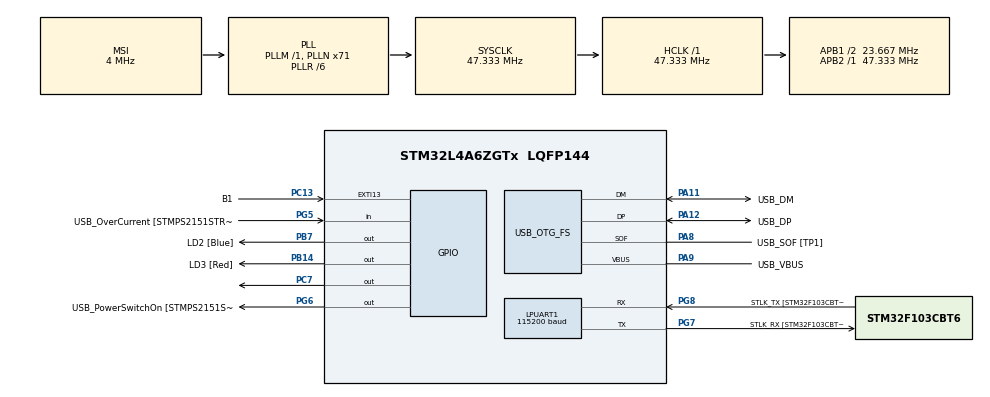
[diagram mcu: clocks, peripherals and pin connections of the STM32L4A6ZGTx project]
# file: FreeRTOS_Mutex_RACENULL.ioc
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FREERTOS.CountingSemaphores01=myCountingSem01,1,Dynamic,NULL,1
FREERTOS.Mutexes01=CONTEXTKEY,Dynamic,NULL,Available
FREERTOS.RecursiveMutexes01=RecursiveCONTEXTKEY,Dynamic,NULL,Available
FREERTOS.Tasks01=defaultTask,8,128,StartDefaultTask,Default,NULL,Dynamic,NULL,NULL;myTask02,24,128,StartTask02,Default,NULL,Dynamic,NULL,NULL;myTask03,24,128,StartTask03,Default,NULL,Dynamic,NULL,NULL
LPUART1.AutoBaudRateEnableParam=UART_ADVFEATURE_AUTOBAUDRATE_DISABLE
LPUART1.BaudRate=115200
LPUART1.DMADisableonRxErrorParam=UART_ADVFEATURE_DMA_ENABLEONRXERROR
LPUART1.DataInvertParam=UART_ADVFEATURE_DATAINV_DISABLE
LPUART1.MSBFirstParam=UART_ADVFEATURE_MSBFIRST_DISABLE
LPUART1.Mode=UART_MODE_TX_RX
LPUART1.OneBitSampling=UART_ONE_BIT_SAMPLE_DISABLE
LPUART1.OverrunDisableParam=UART_ADVFEATURE_OVERRUN_ENABLE
LPUART1.Parity=UART_PARITY_NONE
LPUART1.RxPinLevelInvertParam=UART_ADVFEATURE_RXINV_DISABLE
LPUART1.StopBits=UART_STOPBITS_2
LPUART1.SwapParam=UART_ADVFEATURE_SWAP_DISABLE
LPUART1.TxPinLevelInvertParam=UART_ADVFEATURE_TXINV_DISABLE
LPUART1.WordLength=UART_WORDLENGTH_8B
Mcu.Family=STM32L4
Mcu.Name=STM32L4A6ZGTx
Mcu.Package=LQFP144
Mcu.UserConstants=DEBOUNCE_COUNT,10000
NVIC.EXTI15_10_IRQn=true\:5\:0\:false\:false\:true\:true\:true\:true\:true
NVIC.LPUART1_IRQn=true\:5\:0\:false\:false\:true\:true\:true\:true\:true
NVIC.PriorityGroup=NVIC_PRIORITYGROUP_4
NVIC.TIM6_DAC_IRQn=true\:15\:0\:false\:false\:true\:false\:false\:true\:true
NVIC.TIM7_IRQn=true\:5\:0\:false\:false\:true\:true\:true\:true\:true
NVIC.TimeBase=TIM6_DAC_IRQn
NVIC.TimeBaseIP=TIM6
PA10.GPIO_Label=USB_ID
PA10.Signal=USB_OTG_FS_ID
PA11.GPIO_Label=USB_DM
PA11.Mode=Device_Only
PA11.Signal=USB_OTG_FS_DM
PA12.GPIO_Label=USB_DP
PA12.Mode=Device_Only
PA12.Signal=USB_OTG_FS_DP
PA13\ (JTMS/SWDIO).GPIO_Label=TMS
PA13\ (JTMS/SWDIO).Mode=Trace_Asynchronous_SW
PA13\ (JTMS/SWDIO).Signal=SYS_JTMS-SWDIO
PA14\ (JTCK/SWCLK).GPIO_Label=TCK
PA14\ (JTCK/SWCLK).Mode=Trace_Asynchronous_SW
PA14\ (JTCK/SWCLK).Signal=SYS_JTCK-SWCLK
PA8.GPIO_Label=USB_SOF [TP1]
PA8.Mode=Activate_SOF_FS
PA8.Signal=USB_OTG_FS_SOF
PA9.GPIO_Label=USB_VBUS
PA9.Mode=Activate_VBUS
PA9.Signal=USB_OTG_FS_VBUS
PB14.GPIO_Label=LD3 [Red]
PB14.Signal=GPIO_Output
PB3\ (JTDO/TRACESWO).GPIO_Label=SWO
PB3\ (JTDO/TRACESWO).Mode=Trace_Asynchronous_SW
PB3\ (JTDO/TRACESWO).Signal=SYS_JTDO-SWO
PB7.GPIO_Label=LD2 [Blue]
PB7.Signal=GPIO_Output
PC13.GPIO_Label=B1
PC13.GPIO_ModeDefaultEXTI=GPIO_MODE_IT_FALLING
PC13.Signal=GPXTI13
PC14-OSC32_IN\ (PC14).Mode=LSE-External-Oscillator
PC14-OSC32_IN\ (PC14).Signal=RCC_OSC32_IN
PC15-OSC32_OUT\ (PC15).Mode=LSE-External-Oscillator
PC15-OSC32_OUT\ (PC15).Signal=RCC_OSC32_OUT
PC7.Signal=GPIO_Output
PG5.GPIO_Label=USB_OverCurrent [STMPS2151STR_FAULT]
PG5.Signal=GPIO_Input
PG6.GPIO_Label=USB_PowerSwitchOn [STMPS2151STR_EN]
PG6.Signal=GPIO_Output
PG7.GPIO_Label=STLK_RX [STM32F103CBT6_PA3]
PG7.Mode=Asynchronous
PG7.Signal=LPUART1_TX
PG8.GPIO_Label=STLK_TX [STM32F103CBT6_PA2]
PG8.Mode=Asynchronous
PG8.Signal=LPUART1_RX
PH1-OSC_OUT\ (PH1).Signal=RCC_OSC_OUT
ProjectManager.HeapSize=0x200
ProjectManager.StackSize=0x400
ProjectManager.TargetToolchain=STM32CubeIDE
RCC.ADCFreq_Value=48000000
RCC.AHBFreq_Value=47333333.333333336
RCC.APB1CLKDivider=RCC_HCLK_DIV2
RCC.APB1Freq_Value=23666666.666666668
RCC.APB1TimFreq_Value=47333333.333333336
RCC.APB2Freq_Value=47333333.333333336
RCC.APB2TimFreq_Value=47333333.333333336
RCC.CortexFreq_Value=47333333.333333336
RCC.FLatency=FLASH_LATENCY_2
RCC.HCLKFreq_Value=47333333.333333336
RCC.HSE_VALUE=8000000
RCC.HSI48_VALUE=48000000
RCC.HSI_VALUE=16000000
RCC.MSI_VALUE=4000000
RCC.PLLN=71
RCC.PLLR=RCC_PLLR_DIV6
RCC.PLLSAI1N=24
RCC.SYSCLKFreq_VALUE=47333333.333333336
RCC.SYSCLKSource=RCC_SYSCLKSOURCE_PLLCLK
RCC.USBFreq_Value=48000000
RCC.VCOOutputFreq_Value=284000000
TIM7.Period=DEBOUNCE_COUNT - 1
TIM7.Prescaler=47.333333 - 1
USB_OTG_FS.Sof_enable=ENABLE
USB_OTG_FS.VirtualMode=Device_Only
USB_OTG_FS.battery_charging_enable=ENABLE
USB_OTG_FS.low_power_enable=DISABLE
USB_OTG_FS.lpm_enable=DISABLE
USB_OTG_FS.use_dedicated_ep1=DISABLE
USB_OTG_FS.vbus_sensing_enable=ENABLE
VP_FREERTOS_VS_CMSIS_V2.Mode=CMSIS_V2
VP_SYS_VS_tim6.Mode=TIM6
VP_TIM7_VS_ClockSourceINT.Mode=Enable_Timer
board=NUCLEO-L4A6ZG

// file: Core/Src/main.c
/* USER CODE BEGIN Header */
/**
  ******************************************************************************
  * @file           : main.c
  * @brief          : Main program body
  ******************************************************************************
  * @attention
  *
  * Copyright (c) 2025 STMicroelectronics.
  * All rights reserved.
  *
  * This software is licensed under terms that can be found in the LICENSE file
  * in the root directory of this software component.
  * If no LICENSE file comes with this software, it is provided AS-IS.
  *
  ******************************************************************************
  */
/* USER CODE END Header */
#include "main.h"
#include "cmsis_os.h"

/* USER CODE BEGIN PD */
#define BTN_Pin GPIO_PIN_13
#define BTN_Port GPIOC
#define TASK2 myTask02Handle
#define TASK3 myTask03Handle
#define COUNT_UP count()
#define KEYSEM1Handle myCountingSem01Handle
#define KEYTOKEN CONTEXTKEYHandle
/* USER CODE END PD */

/* USER CODE BEGIN PM */
int i = 0;
uint8_t buttonstate = 0;
uint8_t newbuttonstate = 0;
int currentTask = 0;
int activeTask = 2;
/* USER CODE END PM */

UART_HandleTypeDef hlpuart1;

TIM_HandleTypeDef htim7;

PCD_HandleTypeDef hpcd_USB_OTG_FS;

/* Definitions for defaultTask */
osThreadId_t defaultTaskHandle;
const osThreadAttr_t defaultTask_attributes = {
  .name = "defaultTask",
  .stack_size = 128 * 4,
  .priority = (osPriority_t) osPriorityNormal,
};
/* Definitions for myTask02 */
osThreadId_t myTask02Handle;
const osThreadAttr_t myTask02_attributes = {
  .name = "myTask02",
  .stack_size = 128 * 4,
  .priority = (osPriority_t) osPriorityNormal,
};
/* Definitions for myTask03 */
osThreadId_t myTask03Handle;
const osThreadAttr_t myTask03_attributes = {
  .name = "myTask03",
  .stack_size = 128 * 4,
  .priority = (osPriority_t) osPriorityNormal,
};
/* Definitions for CONTEXTKEY */
osMutexId_t CONTEXTKEYHandle;
const osMutexAttr_t CONTEXTKEY_attributes = {
  .name = "CONTEXTKEY"
};
/* Definitions for RecursiveCONTEXTKEY */
osMutexId_t RecursiveCONTEXTKEYHandle;
const osMutexAttr_t RecursiveCONTEXTKEY_attributes = {
  .name = "RecursiveCONTEXTKEY",
  .attr_bits = osMutexRecursive,
};
/* Definitions for myCountingSem01 */
osSemaphoreId_t myCountingSem01Handle;
const osSemaphoreAttr_t myCountingSem01_attributes = {
  .name = "myCountingSem01"
};

void SystemClock_Config(void);
static void MX_GPIO_Init(void);
static void MX_LPUART1_UART_Init(void);
static void MX_USB_OTG_FS_PCD_Init(void);
static void MX_TIM7_Init(void);
void StartDefaultTask(void *argument);
void StartTask02(void *argument);
void StartTask03(void *argument);

/* USER CODE BEGIN 0 */
/**
  * @brief  Period elapsed callback in non blocking mode
  * @note   This function is called  when TIM6 interrupt took place, inside
  * HAL_TIM_IRQHandler(). It makes a direct call to HAL_IncTick() to increment
  * a global variable "uwTick" used as application time base and for TIM7, it checks
  * the button state.
  * @param  htim : TIM handle
  * @retval None
  */
void HAL_TIM_PeriodElapsedCallback(TIM_HandleTypeDef *htim)
{
	if (htim->Instance == TIM6)
	{
		HAL_IncTick();
	}
	if (htim->Instance == TIM7)
	{
		HAL_TIM_Base_Stop_IT(&htim7);
		GPIO_PinState state = HAL_GPIO_ReadPin(BTN_Port, BTN_Pin); //check button state
		buttonstate = (state == GPIO_PIN_RESET); // 1 = pressed, 0 = released
	}
}
/**
  * @brief HAL_GPIO_EXTI_Callback Function
  * @param None
  * @retval None
  */
void HAL_GPIO_EXTI_Callback(uint16_t GPIO_Pin)
{
	if (GPIO_Pin == BTN_Pin)
	{
		__HAL_TIM_SET_COUNTER(&htim7, 0); //starts TIM7
		HAL_TIM_Base_Start_IT(&htim7);
	}
}

/**
  * @brief count Function (counts up 1 each time it is called)
  * @param None
  * @retval None
  */
void count()
{
	char buf[32];
	i += 1;
	currentTask = 1;
	snprintf(buf, sizeof(buf), "%d\n", i);
	HAL_UART_Transmit(&hlpuart1, (uint8_t *)buf, strlen(buf), HAL_MAX_DELAY);
	HAL_Delay(250);
}
/* USER CODE END 0 */

int main(void)
{

  /* MCU Configuration--------------------------------------------------------*/

  /* Reset of all peripherals, Initializes the Flash interface and the Systick. */
  HAL_Init();

  /* Configure the system clock */
  SystemClock_Config();

  /* Initialize all configured peripherals */
  MX_GPIO_Init();
  MX_LPUART1_UART_Init();
  MX_USB_OTG_FS_PCD_Init();
  MX_TIM7_Init();
  /* USER CODE BEGIN 2 */
  activeTask = 2;
  /* USER CODE END 2 */

  /* Init scheduler */
  osKernelInitialize();
  /* Create the mutex(es) */
  /* creation of CONTEXTKEY */
  CONTEXTKEYHandle = osMutexNew(&CONTEXTKEY_attributes);

  /* Create the recursive mutex(es) */
  /* creation of RecursiveCONTEXTKEY */
  RecursiveCONTEXTKEYHandle = osMutexNew(&RecursiveCONTEXTKEY_attributes);

  /* Create the semaphores(s) */
  /* creation of myCountingSem01 */
  myCountingSem01Handle = osSemaphoreNew(1, 0, &myCountingSem01_attributes);

  /* Create the thread(s) */
  /* creation of defaultTask */
  defaultTaskHandle = osThreadNew(StartDefaultTask, NULL, &defaultTask_attributes);

  /* creation of myTask02 */
  myTask02Handle = osThreadNew(StartTask02, NULL, &myTask02_attributes);

  /* creation of myTask03 */
  myTask03Handle = osThreadNew(StartTask03, NULL, &myTask03_attributes);

  /* Start scheduler */
  osKernelStart();

  /* We should never get here as control is now taken by the scheduler */

  /* Infinite loop */
  while (1)
  {

  }
}

void SystemClock_Config(void)
{
  RCC_OscInitTypeDef RCC_OscInitStruct = {0};
  RCC_ClkInitTypeDef RCC_ClkInitStruct = {0};

  /** Configure the main internal regulator output voltage
  */
  if (HAL_PWREx_ControlVoltageScaling(PWR_REGULATOR_VOLTAGE_SCALE1) != HAL_OK)
  {
    Error_Handler();
  }

  /** Configure LSE Drive Capability
  */
  HAL_PWR_EnableBkUpAccess();
  __HAL_RCC_LSEDRIVE_CONFIG(RCC_LSEDRIVE_LOW);

  /** Initializes the RCC Oscillators according to the specified parameters
  * in the RCC_OscInitTypeDef structure.
  */
  RCC_OscInitStruct.OscillatorType = RCC_OSCILLATORTYPE_LSE|RCC_OSCILLATORTYPE_MSI;
  RCC_OscInitStruct.LSEState = RCC_LSE_ON;
  RCC_OscInitStruct.MSIState = RCC_MSI_ON;
  RCC_OscInitStruct.MSICalibrationValue = 0;
  RCC_OscInitStruct.MSIClockRange = RCC_MSIRANGE_6;
  RCC_OscInitStruct.PLL.PLLState = RCC_PLL_ON;
  RCC_OscInitStruct.PLL.PLLSource = RCC_PLLSOURCE_MSI;
  RCC_OscInitStruct.PLL.PLLM = 1;
  RCC_OscInitStruct.PLL.PLLN = 71;
  RCC_OscInitStruct.PLL.PLLP = RCC_PLLP_DIV2;
  RCC_OscInitStruct.PLL.PLLQ = RCC_PLLQ_DIV2;
  RCC_OscInitStruct.PLL.PLLR = RCC_PLLR_DIV6;
  if (HAL_RCC_OscConfig(&RCC_OscInitStruct) != HAL_OK)
  {
    Error_Handler();
  }

  /** Initializes the CPU, AHB and APB buses clocks
  */
  RCC_ClkInitStruct.ClockType = RCC_CLOCKTYPE_HCLK|RCC_CLOCKTYPE_SYSCLK
                              |RCC_CLOCKTYPE_PCLK1|RCC_CLOCKTYPE_PCLK2;
  RCC_ClkInitStruct.SYSCLKSource = RCC_SYSCLKSOURCE_PLLCLK;
  RCC_ClkInitStruct.AHBCLKDivider = RCC_SYSCLK_DIV1;
  RCC_ClkInitStruct.APB1CLKDivider = RCC_HCLK_DIV2;
  RCC_ClkInitStruct.APB2CLKDivider = RCC_HCLK_DIV1;

  if (HAL_RCC_ClockConfig(&RCC_ClkInitStruct, FLASH_LATENCY_2) != HAL_OK)
  {
    Error_Handler();
  }

  /** Enable MSI Auto calibration
  */
  HAL_RCCEx_EnableMSIPLLMode();
}

static void MX_LPUART1_UART_Init(void)
{

  hlpuart1.Instance = LPUART1;
  hlpuart1.Init.BaudRate = 115200;
  hlpuart1.Init.WordLength = UART_WORDLENGTH_8B;
  hlpuart1.Init.StopBits = UART_STOPBITS_2;
  hlpuart1.Init.Parity = UART_PARITY_NONE;
  hlpuart1.Init.Mode = UART_MODE_TX_RX;
  hlpuart1.Init.HwFlowCtl = UART_HWCONTROL_NONE;
  hlpuart1.Init.OneBitSampling = UART_ONE_BIT_SAMPLE_DISABLE;
  hlpuart1.AdvancedInit.AdvFeatureInit = UART_ADVFEATURE_NO_INIT;
  if (HAL_UART_Init(&hlpuart1) != HAL_OK)
  {
    Error_Handler();
  }

}

static void MX_TIM7_Init(void)
{

  TIM_MasterConfigTypeDef sMasterConfig = {0};

  htim7.Instance = TIM7;
  htim7.Init.Prescaler = 47.333333 - 1;
  htim7.Init.CounterMode = TIM_COUNTERMODE_UP;
  htim7.Init.Period = DEBOUNCE_COUNT - 1;
  htim7.Init.AutoReloadPreload = TIM_AUTORELOAD_PRELOAD_DISABLE;
  if (HAL_TIM_Base_Init(&htim7) != HAL_OK)
  {
    Error_Handler();
  }
  sMasterConfig.MasterOutputTrigger = TIM_TRGO_RESET;
  sMasterConfig.MasterSlaveMode = TIM_MASTERSLAVEMODE_DISABLE;
  if (HAL_TIMEx_MasterConfigSynchronization(&htim7, &sMasterConfig) != HAL_OK)
  {
    Error_Handler();
  }

}

static void MX_USB_OTG_FS_PCD_Init(void)
{

  hpcd_USB_OTG_FS.Instance = USB_OTG_FS;
  hpcd_USB_OTG_FS.Init.dev_endpoints = 6;
  hpcd_USB_OTG_FS.Init.speed = PCD_SPEED_FULL;
  hpcd_USB_OTG_FS.Init.phy_itface = PCD_PHY_EMBEDDED;
  hpcd_USB_OTG_FS.Init.Sof_enable = ENABLE;
  hpcd_USB_OTG_FS.Init.low_power_enable = DISABLE;
  hpcd_USB_OTG_FS.Init.lpm_enable = DISABLE;
  hpcd_USB_OTG_FS.Init.battery_charging_enable = ENABLE;
  hpcd_USB_OTG_FS.Init.use_dedicated_ep1 = DISABLE;
  hpcd_USB_OTG_FS.Init.vbus_sensing_enable = ENABLE;
  if (HAL_PCD_Init(&hpcd_USB_OTG_FS) != HAL_OK)
  {
    Error_Handler();
  }

}

static void MX_GPIO_Init(void)
{
  GPIO_InitTypeDef GPIO_InitStruct = {0};

  /* GPIO Ports Clock Enable */
  __HAL_RCC_GPIOC_CLK_ENABLE();
  __HAL_RCC_GPIOH_CLK_ENABLE();
  __HAL_RCC_GPIOB_CLK_ENABLE();
  __HAL_RCC_GPIOG_CLK_ENABLE();
  HAL_PWREx_EnableVddIO2();
  __HAL_RCC_GPIOA_CLK_ENABLE();

  /*Configure GPIO pin Output Level */
  HAL_GPIO_WritePin(GPIOB, LD3_Pin|LD2_Pin, GPIO_PIN_RESET);

  /*Configure GPIO pin Output Level */
  HAL_GPIO_WritePin(USB_PowerSwitchOn_GPIO_Port, USB_PowerSwitchOn_Pin, GPIO_PIN_RESET);

  /*Configure GPIO pin Output Level */
  HAL_GPIO_WritePin(GPIOC, GPIO_PIN_7, GPIO_PIN_RESET);

  /*Configure GPIO pin : B1_Pin */
  GPIO_InitStruct.Pin = B1_Pin;
  GPIO_InitStruct.Mode = GPIO_MODE_IT_FALLING;
  GPIO_InitStruct.Pull = GPIO_NOPULL;
  HAL_GPIO_Init(B1_GPIO_Port, &GPIO_InitStruct);

  /*Configure GPIO pins : LD3_Pin LD2_Pin */
  GPIO_InitStruct.Pin = LD3_Pin|LD2_Pin;
  GPIO_InitStruct.Mode = GPIO_MODE_OUTPUT_PP;
  GPIO_InitStruct.Pull = GPIO_NOPULL;
  GPIO_InitStruct.Speed = GPIO_SPEED_FREQ_LOW;
  HAL_GPIO_Init(GPIOB, &GPIO_InitStruct);

  /*Configure GPIO pin : USB_OverCurrent_Pin */
  GPIO_InitStruct.Pin = USB_OverCurrent_Pin;
  GPIO_InitStruct.Mode = GPIO_MODE_INPUT;
  GPIO_InitStruct.Pull = GPIO_NOPULL;
  HAL_GPIO_Init(USB_OverCurrent_GPIO_Port, &GPIO_InitStruct);

  /*Configure GPIO pin : USB_PowerSwitchOn_Pin */
  GPIO_InitStruct.Pin = USB_PowerSwitchOn_Pin;
  GPIO_InitStruct.Mode = GPIO_MODE_OUTPUT_PP;
  GPIO_InitStruct.Pull = GPIO_NOPULL;
  GPIO_InitStruct.Speed = GPIO_SPEED_FREQ_LOW;
  HAL_GPIO_Init(USB_PowerSwitchOn_GPIO_Port, &GPIO_InitStruct);

  /*Configure GPIO pin : PC7 */
  GPIO_InitStruct.Pin = GPIO_PIN_7;
  GPIO_InitStruct.Mode = GPIO_MODE_OUTPUT_PP;
  GPIO_InitStruct.Pull = GPIO_NOPULL;
  GPIO_InitStruct.Speed = GPIO_SPEED_FREQ_LOW;
  HAL_GPIO_Init(GPIOC, &GPIO_InitStruct);

  /* EXTI interrupt init*/
  HAL_NVIC_SetPriority(EXTI15_10_IRQn, 5, 0);
  HAL_NVIC_EnableIRQ(EXTI15_10_IRQn);

}

/* USER CODE BEGIN Header_StartDefaultTask */
/**
  * @brief  Function implementing the defaultTask thread
  * 		and push button application at PC13 which releases Mutex.
  * @param  argument: Not used
  * @retval None
  */
/* USER CODE END Header_StartDefaultTask */
void StartDefaultTask(void *argument)
{
  /* USER CODE BEGIN 5 */
  /* Infinite loop */
	for (;;)
		 {
			if (buttonstate)
			{
				osMutexAcquire(KEYTOKEN, osMutexWait);
				osMutexRelease(KEYTOKEN);
				buttonstate = 0;
				currentTask = 1;
			}
		}
  /* USER CODE END 5 */
}

/* USER CODE BEGIN Header_StartTask02 */
/**
* @brief Function implementing the myTask02 thread and
* 		 count up alternating functionality with task 3 using Mutex.
* @param argument: Not used
* @retval None
*/
/* USER CODE END Header_StartTask02 */
void StartTask02(void *argument)
{
  /* USER CODE BEGIN StartTask02 */
  /* Infinite loop */
  for(;;)
  {
	  if(currentTask ==  1)
	  {
	    osMutexAcquire(KEYTOKEN, osMutexWait); //acquires key.
		if (activeTask == 2)
		{
			HAL_UART_Transmit(&hlpuart1, (uint8_t*) "Task02\n", 7, HAL_MAX_DELAY);
			COUNT_UP;
			activeTask = 3;
		}
		osMutexRelease(KEYTOKEN); //Release key to Task 3.
	  }
   }
  /* USER CODE END StartTask02 */
}

/* USER CODE BEGIN Header_StartTask03 */
/**
* @brief Function implementing the myTask03 thread and
* 		 count up alternating functionality with task 2 using Mutex.
* @param argument: Not used
* @retval None
*/
/* USER CODE END Header_StartTask03 */
void StartTask03(void *argument)
{
  /* USER CODE BEGIN StartTask03 */
  /* Infinite loop */
  for(;;)
  {
	  if(currentTask ==  1)
	  {
    	osMutexAcquire(KEYTOKEN, osMutexWait); //acquires key.
		if (activeTask == 3)
		{
			HAL_UART_Transmit(&hlpuart1, (uint8_t*) "Task03\n", 7, HAL_MAX_DELAY);
			COUNT_UP;
			activeTask = 2;
		}
		osMutexRelease(KEYTOKEN); // Release key to task 2.
	  }
  }
  /* USER CODE END StartTask03 */
}

//void HAL_TIM_PeriodElapsedCallback(TIM_HandleTypeDef *htim)
//{
//  /* USER CODE BEGIN Callback 0 */
//
//  /* USER CODE END Callback 0 */
//  if (htim->Instance == TIM6)
//  {
//    HAL_IncTick();
//  }
//  /* USER CODE BEGIN Callback 1 */
//
//  /* USER CODE END Callback 1 */
//}

void Error_Handler(void)
{
  __disable_irq();
  while (1)
  {
  }
}
